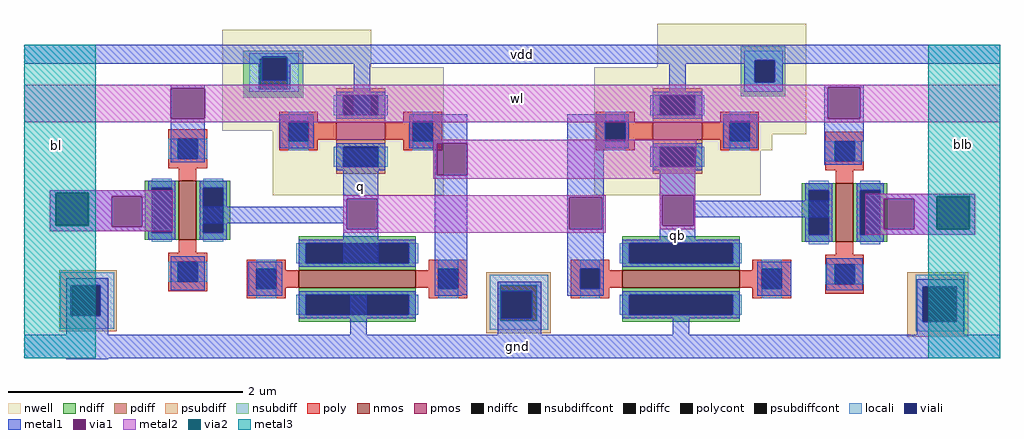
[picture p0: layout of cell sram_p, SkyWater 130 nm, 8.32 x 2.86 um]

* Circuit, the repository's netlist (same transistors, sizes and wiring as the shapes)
* NGSPICE file created from sram_p.ext - technology: sky130A

.subckt sky130_fd_pr__nfet_01v8_KF5KU3 a_n73_n50# a_n33_n138# a_15_n50# VSUBS
X0 a_15_n50# a_n33_n138# a_n73_n50# VSUBS sky130_fd_pr__nfet_01v8 ad=0.145 pd=1.58 as=0.145 ps=1.58 w=0.5 l=0.15
.ends

.subckt sky130_fd_pr__pfet_01v8_4CEXXN m1_217_794# m1_n29_618# m1_223_676# a_15_n42#
+ a_n33_n139# a_n73_n42# w_n109_n142#
X0 a_15_n42# a_n33_n139# a_n73_n42# w_n109_n142# sky130_fd_pr__pfet_01v8 ad=0.1218 pd=1.42 as=0.1218 ps=1.42 w=0.42 l=0.15
.ends

.subckt sky130_fd_pr__nfet_01v8_2KVPM6 a_n73_n100# a_n33_n188# a_15_n100# VSUBS
X0 a_15_n100# a_n33_n188# a_n73_n100# VSUBS sky130_fd_pr__nfet_01v8 ad=0.29 pd=2.58 as=0.29 ps=2.58 w=1 l=0.15
.ends

.subckt sram_p vdd wl q gnd qb bl blb
Xsky130_fd_pr__nfet_01v8_KF5KU3_0 bl wl q gnd sky130_fd_pr__nfet_01v8_KF5KU3
Xsky130_fd_pr__nfet_01v8_KF5KU3_1 qb wl blb gnd sky130_fd_pr__nfet_01v8_KF5KU3
Xsky130_fd_pr__pfet_01v8_4CEXXN_0 wl q q q qb vdd vdd sky130_fd_pr__pfet_01v8_4CEXXN
Xsky130_fd_pr__nfet_01v8_2KVPM6_0 q qb gnd gnd sky130_fd_pr__nfet_01v8_2KVPM6
X0 vdd q qb vdd sky130_fd_pr__pfet_01v8 ad=0.1218 pd=1.42 as=0.1218 ps=1.42 w=0.42 l=0.15
X1 qb q gnd gnd sky130_fd_pr__nfet_01v8 ad=0.29 pd=2.58 as=0.29 ps=2.58 w=1 l=0.15
.ends

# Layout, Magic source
magic
tech sky130A
magscale 1 2
<< nwell >>
rect -94 112 160 282
rect 648 218 902 292
rect -94 110 158 112
rect -8 0 34 110
rect 540 104 902 218
rect 540 76 844 104
rect 540 0 824 76
<< nmos >>
rect 588 -158 788 -128
<< pmos >>
rect 640 94 724 124
<< ndiff >>
rect 588 -82 788 -70
rect 588 -116 600 -82
rect 776 -116 788 -82
rect 588 -128 788 -116
rect 588 -170 788 -158
rect 588 -204 600 -170
rect 776 -204 788 -170
rect 588 -216 788 -204
<< pdiff >>
rect 640 170 724 182
rect 640 136 652 170
rect 712 136 724 170
rect 640 124 724 136
rect 640 82 724 94
rect 640 48 652 82
rect 712 48 724 82
rect 640 36 724 48
<< ndiffc >>
rect 600 -116 776 -82
rect 600 -204 776 -170
<< pdiffc >>
rect 652 136 712 170
rect 652 48 712 82
<< psubdiff >>
rect -372 -154 -274 -128
rect -372 -206 -350 -154
rect -302 -206 -274 -154
rect -372 -232 -274 -206
rect 356 -154 466 -132
rect 356 -214 380 -154
rect 442 -214 466 -154
rect 356 -236 466 -214
rect 1074 -156 1178 -132
rect 1074 -216 1100 -156
rect 1158 -216 1178 -156
rect 1074 -242 1178 -216
<< nsubdiff >>
rect -58 232 44 246
rect -58 180 -30 232
rect 18 180 44 232
rect 790 230 866 254
rect 790 192 814 230
rect 848 192 866 230
rect -58 166 44 180
rect 790 168 866 192
<< psubdiffcont >>
rect -350 -206 -302 -154
rect 380 -214 442 -154
rect 1100 -216 1158 -156
<< nsubdiffcont >>
rect -30 180 18 232
rect 814 192 848 230
<< poly >>
rect 543 126 609 142
rect 543 92 559 126
rect 593 124 609 126
rect 755 126 821 142
rect 755 124 771 126
rect 593 94 640 124
rect 724 94 771 124
rect 593 92 609 94
rect 543 76 609 92
rect 755 92 771 94
rect 805 92 821 126
rect 755 76 821 92
rect 500 -126 566 -110
rect 500 -160 516 -126
rect 550 -128 566 -126
rect 810 -126 876 -110
rect 810 -128 826 -126
rect 550 -158 588 -128
rect 788 -158 826 -128
rect 550 -160 566 -158
rect 500 -176 566 -160
rect 810 -160 826 -158
rect 860 -160 876 -126
rect 810 -176 876 -160
<< polycont >>
rect 559 92 593 126
rect 771 92 805 126
rect 516 -160 550 -126
rect 826 -160 860 -126
<< locali >>
rect -48 236 36 242
rect -48 232 -26 236
rect 16 232 36 236
rect -48 180 -30 232
rect 18 180 36 232
rect -48 176 36 180
rect 796 230 862 246
rect 796 192 814 230
rect 848 192 862 230
rect 796 176 862 192
rect 559 126 593 142
rect 636 136 652 170
rect 712 136 728 170
rect 559 76 593 92
rect 771 126 805 142
rect 636 48 652 82
rect 712 48 728 82
rect 771 76 805 92
rect 516 -126 550 -110
rect 584 -116 600 -82
rect 776 -116 792 -82
rect -370 -154 -278 -132
rect -370 -206 -352 -154
rect -302 -206 -278 -154
rect -370 -228 -278 -206
rect 362 -154 462 -136
rect 362 -214 380 -154
rect 442 -214 462 -154
rect 516 -176 550 -160
rect 826 -126 860 -110
rect 584 -204 600 -170
rect 776 -204 792 -170
rect 826 -176 860 -160
rect 1088 -156 1172 -136
rect 362 -230 462 -214
rect 1088 -216 1100 -156
rect 1158 -216 1172 -156
rect 1088 -232 1172 -216
<< viali >>
rect -26 232 16 236
rect -26 196 16 232
rect 814 192 848 230
rect 652 136 712 170
rect 559 92 593 126
rect 771 92 805 126
rect 652 48 712 82
rect 600 -116 776 -82
rect -352 -206 -350 -154
rect -350 -206 -302 -154
rect 382 -210 434 -164
rect 516 -160 550 -126
rect 826 -160 860 -126
rect 600 -204 776 -170
rect 1100 -216 1158 -156
<< metal1 >>
rect -432 236 1232 256
rect -432 224 -26 236
rect -32 196 -26 224
rect 16 230 1232 236
rect 16 224 814 230
rect 16 196 22 224
rect -182 182 -124 188
rect -32 180 22 196
rect -182 56 -124 130
rect 4 80 62 138
rect 130 136 158 224
rect 668 176 696 224
rect 796 192 814 224
rect 848 224 1232 230
rect 848 192 862 224
rect 796 176 862 192
rect 932 184 1000 188
rect 640 170 724 176
rect 226 88 324 138
rect 226 80 272 88
rect -388 -2 -178 8
rect -388 -54 -282 -2
rect -230 -54 -178 -2
rect 112 -6 172 80
rect 112 -20 118 -6
rect -126 -48 118 -20
rect -388 -62 -178 -54
rect 112 -58 118 -48
rect 170 -58 172 -6
rect -360 -154 -288 -142
rect -360 -206 -352 -154
rect -302 -206 -288 -154
rect -182 -162 -124 -104
rect -50 -172 8 -114
rect 112 -116 172 -58
rect 268 34 272 80
rect 268 -170 324 34
rect 494 126 599 138
rect 640 136 652 170
rect 712 136 724 170
rect 640 130 724 136
rect 494 92 559 126
rect 593 92 599 126
rect 494 80 599 92
rect 765 126 811 138
rect 765 92 771 126
rect 805 92 811 126
rect 640 82 724 88
rect 494 -4 556 80
rect 640 48 652 82
rect 712 48 724 82
rect 765 80 811 92
rect 932 130 938 184
rect 994 130 1000 184
rect 932 92 1000 130
rect 932 52 996 92
rect 640 42 724 48
rect 494 -58 498 -4
rect 554 -58 556 -4
rect 494 -126 556 -58
rect 652 0 712 42
rect 652 -52 656 0
rect 710 -10 712 0
rect 1002 -6 1190 2
rect 710 -38 940 -10
rect 710 -52 712 -38
rect 652 -76 712 -52
rect 1002 -58 1034 -6
rect 1086 -58 1190 -6
rect 1002 -68 1190 -58
rect 588 -82 788 -76
rect 588 -116 600 -82
rect 776 -116 788 -82
rect 588 -122 788 -116
rect 376 -164 450 -148
rect -360 -238 -288 -206
rect 124 -238 152 -170
rect 376 -210 382 -164
rect 434 -210 450 -164
rect 494 -160 516 -126
rect 550 -160 556 -126
rect 494 -172 556 -160
rect 820 -126 866 -114
rect 820 -160 826 -126
rect 860 -160 866 -126
rect 588 -170 788 -164
rect 588 -204 600 -170
rect 776 -204 788 -170
rect 820 -172 866 -160
rect 1090 -156 1170 -144
rect 588 -210 788 -204
rect 376 -238 450 -210
rect 674 -238 702 -210
rect 1090 -216 1100 -156
rect 1158 -216 1170 -156
rect 1090 -238 1170 -216
rect -432 -278 1232 -238
rect -360 -280 -288 -278
<< via1 >>
rect -182 130 -124 182
rect -282 -54 -230 -2
rect 118 -58 170 -6
rect 272 34 324 88
rect 938 130 994 184
rect 498 -58 554 -4
rect 656 -52 710 0
rect 1034 -58 1086 -6
<< metal2 >>
rect -432 184 1232 188
rect -432 182 938 184
rect -432 130 -182 182
rect -124 130 938 182
rect 994 130 1232 184
rect -432 124 1232 130
rect 266 88 714 94
rect 266 34 272 88
rect 324 66 714 88
rect 324 34 712 66
rect 266 28 712 34
rect -388 4 -178 8
rect -388 -52 -378 4
rect -322 -2 -178 4
rect 652 0 712 28
rect -322 -52 -282 -2
rect -388 -54 -282 -52
rect -230 -54 -178 -2
rect -388 -62 -178 -54
rect 112 -4 560 0
rect 112 -6 498 -4
rect 112 -58 118 -6
rect 170 -58 498 -6
rect 554 -58 560 -4
rect 652 -52 656 0
rect 710 -52 712 0
rect 652 -58 712 -52
rect 1002 -2 1190 2
rect 1002 -6 1124 -2
rect 1002 -58 1034 -6
rect 1086 -58 1124 -6
rect 1180 -58 1190 -2
rect 112 -64 560 -58
rect 1002 -68 1190 -58
<< via2 >>
rect -378 -52 -322 4
rect 1124 -58 1180 -2
<< metal3 >>
rect -432 4 -310 256
rect -432 -52 -378 4
rect -322 -52 -310 4
rect -432 -278 -310 -52
rect 1110 -2 1232 256
rect 1110 -58 1124 -2
rect 1180 -58 1232 -2
rect 1110 -278 1232 -58
use sky130_fd_pr__nfet_01v8_2KVPM6  sky130_fd_pr__nfet_01v8_2KVPM6_0
transform 0 1 136 -1 0 -143
box -73 -188 73 188
use sky130_fd_pr__nfet_01v8_KF5KU3  sky130_fd_pr__nfet_01v8_KF5KU3_0
transform 1 0 -153 0 1 -26
box -73 -138 73 138
use sky130_fd_pr__nfet_01v8_KF5KU3  sky130_fd_pr__nfet_01v8_KF5KU3_1
transform 1 0 967 0 1 -30
box -73 -138 73 138
use sky130_fd_pr__pfet_01v8_4CEXXN  sky130_fd_pr__pfet_01v8_4CEXXN_0
transform 0 1 142 -1 0 109
box -109 -142 281 856
<< labels >>
rlabel metal1 398 224 438 256 1 vdd
port 1 n
rlabel metal2 390 148 430 180 1 wl
port 2 n
rlabel metal3 -396 68 -356 100 1 bl
port 6 n
rlabel metal3 1150 70 1190 102 1 blb
port 7 n
rlabel metal1 128 6 154 24 1 q
port 3 n
rlabel metal1 670 -78 696 -60 1 qb
port 5 n
rlabel metal1 390 -274 430 -242 1 gnd
port 4 n
<< end >>

# cell sky130_fd_pr__nfet_01v8_2KVPM6: kit device sky130_fd_pr__nfet_01v8, w 1.0 l 0.150 m 1 nf 1 diffcov 100 polycov 100 guard 0 glc 1 grc 1 gtc 1 gbc 1 tbcov 100 rlcov 100 topc 1 botc 1 poverlap 0 doverlap 1 lmin 0.15 wmin 0.42 class mosfet compatible {sky130_fd_pr__nfet_01v8 sky130_fd_pr__nfet_01v8_lvt sky130_fd_bs_flash__special_sonosfet_star sky130_fd_pr__nfet_g5v0d10v5 sky130_fd_pr__nfet_05v0_nvt sky130_fd_pr__nfet_03v3_nvt} full_metal 1 viasrc 100 viadrn 100 viagate 100 viagb 0 viagr 0 viagl 0 viagt 0

# cell sky130_fd_pr__nfet_01v8_KF5KU3: kit device sky130_fd_pr__nfet_01v8, w 0.5 l 0.150 m 1 nf 1 diffcov 100 polycov 100 guard 0 glc 1 grc 1 gtc 1 gbc 1 tbcov 100 rlcov 100 topc 1 botc 1 poverlap 0 doverlap 1 lmin 0.15 wmin 0.42 class mosfet compatible {sky130_fd_pr__nfet_01v8 sky130_fd_pr__nfet_01v8_lvt sky130_fd_bs_flash__special_sonosfet_star sky130_fd_pr__nfet_g5v0d10v5 sky130_fd_pr__nfet_05v0_nvt sky130_fd_pr__nfet_03v3_nvt} full_metal 1 viasrc 100 viadrn 100 viagate 100 viagb 0 viagr 0 viagl 0 viagt 0

# cell sky130_fd_pr__pfet_01v8_4CEXXN: kit device sky130_fd_pr__pfet_01v8, w 0.42 l 0.15 m 1 nf 1 diffcov 100 polycov 100 guard 0 glc 1 grc 1 gtc 1 gbc 1 tbcov 100 rlcov 100 topc 1 botc 1 poverlap 0 doverlap 1 lmin 0.15 wmin 0.42 class mosfet compatible {sky130_fd_pr__pfet_01v8 sky130_fd_pr__pfet_01v8_lvt sky130_fd_pr__pfet_01v8_hvt sky130_fd_pr__pfet_g5v0d10v5} full_metal 1 viasrc 100 viadrn 100 viagate 100 viagb 0 viagr 0 viagl 0 viagt 0
